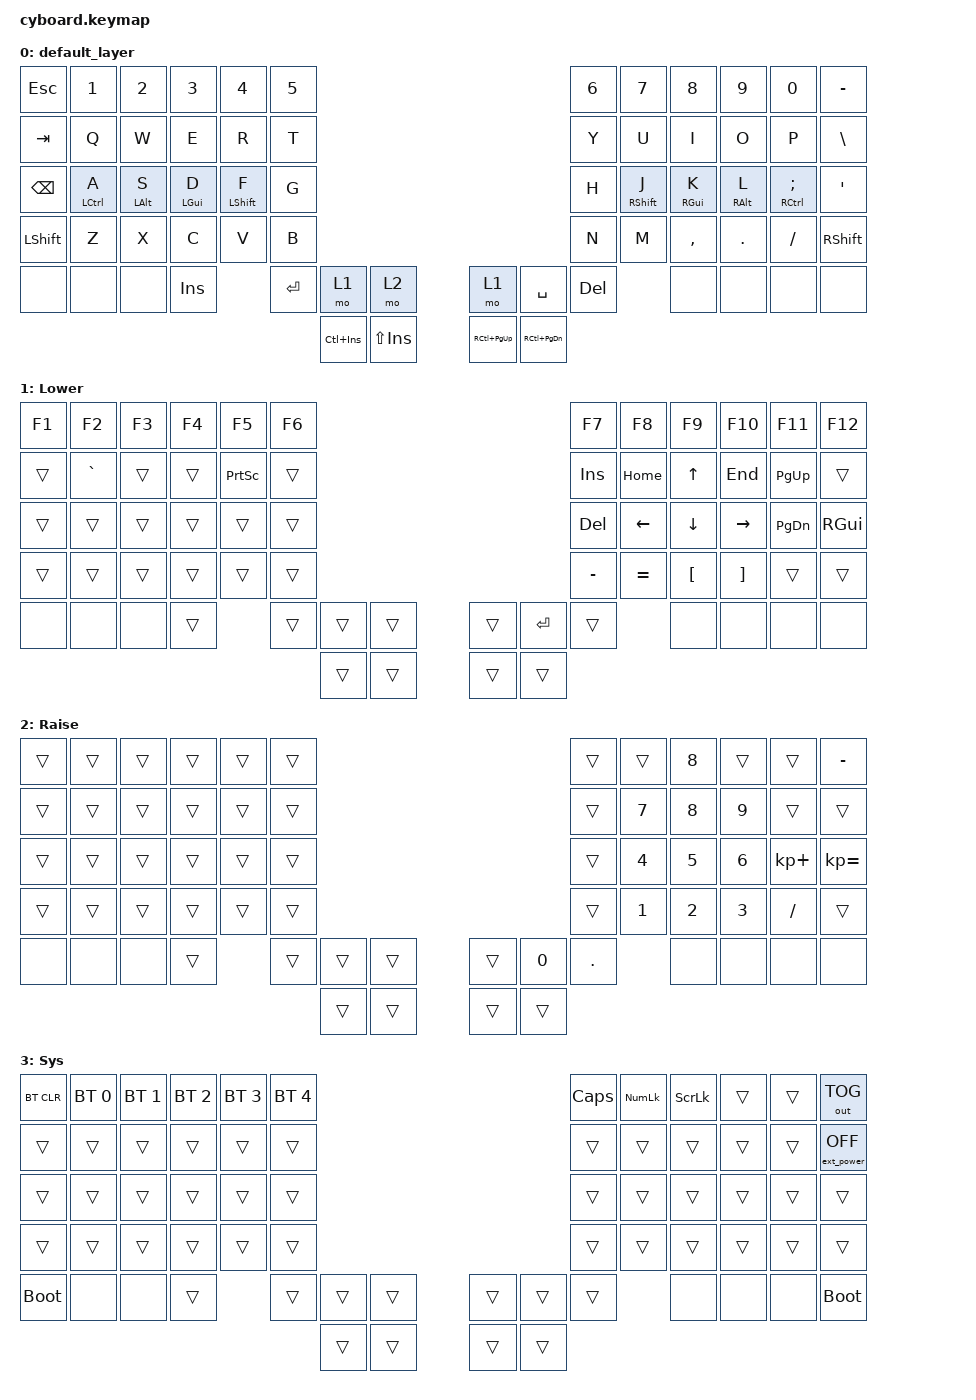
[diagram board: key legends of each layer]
#include <behaviors.dtsi>
#include <dt-bindings/zmk/bt.h>
#include <dt-bindings/zmk/ext_power.h>
#include <dt-bindings/zmk/keys.h>
#include <dt-bindings/zmk/outputs.h>

/ {
    behaviors {
        tpmt: tpmt {
            compatible = "zmk,behavior-hold-tap";
            label = "TPMT";
            bindings = <&kp>, <&kp>;

            #binding-cells = <2>;
            flavor = "tap-preferred";
            tapping-term-ms = <200>;
            require-prior-idle-ms = <125>;
            quick-tap-ms = <125>;
        };
    };

    keymap {
        compatible = "zmk,keymap";

        default_layer {
            bindings = <
&kp ESC        &kp N1         &kp N2            &kp N3        &kp N4          &kp N5                                                               &kp N6   &kp N7         &kp N8        &kp N9        &kp N0                 &kp MINUS
&kp TAB        &kp Q          &kp W             &kp E         &kp R           &kp T                                                                &kp Y    &kp U          &kp I         &kp O         &kp P                  &kp BACKSLASH
&kp BACKSPACE  &tpmt LCTRL A  &tpmt LEFT_ALT S  &tpmt LGUI D  &tpmt LSHIFT F  &kp G                                                                &kp H    &tpmt RSHFT J  &tpmt RGUI K  &tpmt RALT L  &tpmt RCTRL SEMICOLON  &kp SQT
&kp LSHFT      &kp Z          &kp X             &kp C         &kp V           &kp B                                                                &kp N    &kp M          &kp COMMA     &kp DOT       &kp FSLH               &kp RSHFT
&none          &none          &none             &kp INS                                                                                                                    &none         &none         &none                  &none
                                                                              &kp ENTER  &mo 1        &mo 2          &mo 1          &kp SPACE      &kp DEL
                                                                                         &kp LC(INS)  &kp LS(INS)    &kp RC(PG_UP)  &kp RC(PG_DN)
            >;
        };

        lower_layer {
            display-name = "Lower";
            bindings = <
&kp F1  &kp F2     &kp F3  &kp F4  &kp F5           &kp F6                                       &kp F7     &kp F8     &kp F9    &kp F10    &kp F11    &kp F12
&trans  &kp GRAVE  &trans  &trans  &kp PRINTSCREEN  &trans                                       &kp INS    &kp HOME   &kp UP    &kp END    &kp PG_UP  &trans
&trans  &trans     &trans  &trans  &trans           &trans                                       &kp DEL    &kp LEFT   &kp DOWN  &kp RIGHT  &kp PG_DN  &kp RGUI
&trans  &trans     &trans  &trans  &trans           &trans                                       &kp MINUS  &kp EQUAL  &kp LBKT  &kp RBKT   &trans     &trans
&none   &none      &none   &trans                                                                                      &none     &none      &none      &none
                                                    &trans  &trans  &trans    &trans  &kp ENTER  &trans
                                                            &trans  &trans    &trans  &trans
            >;
        };

        raise_layer {
            display-name = "Raise";
            bindings = <
&trans  &trans  &trans  &trans  &trans  &trans                                    &trans   &trans  &kp NUMBER_8  &trans  &trans       &kp MINUS
&trans  &trans  &trans  &trans  &trans  &trans                                    &trans   &kp N7  &kp N8        &kp N9  &trans       &trans
&trans  &trans  &trans  &trans  &trans  &trans                                    &trans   &kp N4  &kp N5        &kp N6  &kp KP_PLUS  &kp KP_EQUAL
&trans  &trans  &trans  &trans  &trans  &trans                                    &trans   &kp N1  &kp N2        &kp N3  &kp SLASH    &trans
&none   &none   &none   &trans                                                                     &none         &none   &none        &none
                                        &trans  &trans  &trans    &trans  &kp N0  &kp DOT
                                                &trans  &trans    &trans  &trans
            >;
        };

        sys_layer {
            display-name = "Sys";
            bindings = <
&bt BT_CLR   &bt BT_SEL 0  &bt BT_SEL 1  &bt BT_SEL 2  &bt BT_SEL 3  &bt BT_SEL 4                                    &kp CAPSLOCK  &kp KP_NUMLOCK  &kp SCROLLLOCK  &trans  &trans  &out OUT_TOG
&trans       &trans        &trans        &trans        &trans        &trans                                          &trans        &trans          &trans          &trans  &trans  &ext_power EP_OFF
&trans       &trans        &trans        &trans        &trans        &trans                                          &trans        &trans          &trans          &trans  &trans  &trans
&trans       &trans        &trans        &trans        &trans        &trans                                          &trans        &trans          &trans          &trans  &trans  &trans
&bootloader  &none         &none         &trans                                                                                                    &none           &none   &none   &bootloader
                                                                     &trans        &trans  &trans    &trans  &trans  &trans
                                                                                   &trans  &trans    &trans  &trans
            >;
        };
    };

    conditional_layers {
        compatible = "zmk,conditional-layers";

        adjust_layer {
            if-layers = <1 2>;
            then-layer = <3>;
        };
    };
};
